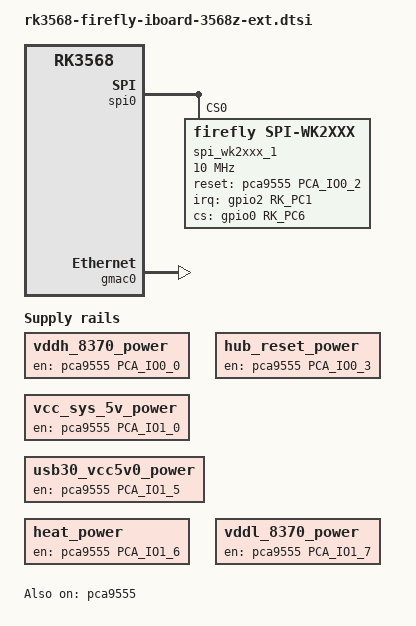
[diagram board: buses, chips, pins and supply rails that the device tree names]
// SPDX-License-Identifier: (GPL-2.0+ OR MIT)
/*
 * Copyright (c) 2020 Rockchip Electronics Co., Ltd.
 *
 */

/ {

	vddh_8370_power: vddh-8370-power-regulator {
		compatible = "regulator-fixed";
		enable-active-high;
		gpio = <&pca9555 PCA_IO0_0 GPIO_ACTIVE_HIGH>;
		regulator-name = "vddh_8370_power_en";
		regulator-always-on;
	};

	hub_reset_power: hub-reset-power-regulator {
		compatible = "regulator-fixed";
		enable-active-high;
		gpio = <&pca9555 PCA_IO0_3 GPIO_ACTIVE_HIGH>;
		regulator-name = "hub_reset_power_en";
		regulator-always-on;
	};

	vcc_sys_5v_power: vcc-sys-5v-power-regulator {
		compatible = "regulator-fixed";
		enable-active-high;
		gpio = <&pca9555 PCA_IO1_0 GPIO_ACTIVE_HIGH>;
		regulator-name = "vcc_sys_5v_power_en";
		regulator-always-on;
	};

	usb30_vcc5v0_power: usb30-vcc5v0-power-regulator {
		compatible = "regulator-fixed";
		enable-active-high;
		gpio = <&pca9555 PCA_IO1_5 GPIO_ACTIVE_HIGH>;
		regulator-name = "usb_vcc_5v_power_en";
		regulator-always-on;
	};

	heat_power: heat-power-regulator {
		compatible = "regulator-fixed";
		enable-active-high;
		gpio = <&pca9555 PCA_IO1_6 GPIO_ACTIVE_HIGH>;
		regulator-name = "heat_power_en";
		regulator-always-on;
	};

	vddl_8370_power: vddl-8370-power-regulator {
		compatible = "regulator-fixed";
		enable-active-high;
		gpio = <&pca9555 PCA_IO1_7 GPIO_ACTIVE_HIGH>;
		regulator-name = "vddl_8370_power_en";
		regulator-always-on;
	};
};

&pca9555 {
	status = "okay";
	gpio-group-num = <200>;
	interrupt-controller;
	#interrupt-cells = <2>;
	interrupt-parent = <&gpio1>;
	interrupts = <RK_PB2 IRQ_TYPE_LEVEL_LOW>;
};

&spi0 {
	status = "okay";
	max-freq = <48000000>;
	dev-port = <0>;
	pinctrl-0 = <&spi0m0_pins>;
	pinctrl-1 = <&spi0m0_pins_hs>;

	spi_wk2xxx_1: spi_wk2xxx_1@00{
		status = "okay";
		compatible = "firefly,spi-wk2xxx";
		reg = <0x00>;
		spi-max-frequency = <10000000>;
		//power-gpio = <&pca9555 PCA_IO0_1 GPIO_ACTIVE_HIGH>;
		reset-gpio = <&pca9555 PCA_IO0_2 GPIO_ACTIVE_HIGH>;
		irq-gpio = <&gpio2 RK_PC1 IRQ_TYPE_EDGE_FALLING>;
		cs-gpio = <&gpio0 RK_PC6 GPIO_ACTIVE_HIGH>;
		/* rk3399 driver support SPI_CPOL | SPI_CPHA | SPI_CS_HIGH */
		//spi-cpha;     /* SPI mode: CPHA=1 */
		//spi-cpol;     /* SPI mode: CPOL=1 */
		//spi-cs-high;
	};
};

&gmac0 {
    status = "okay";
    tx_delay = <0x39>;
    rx_delay = <0x2c>;
};
